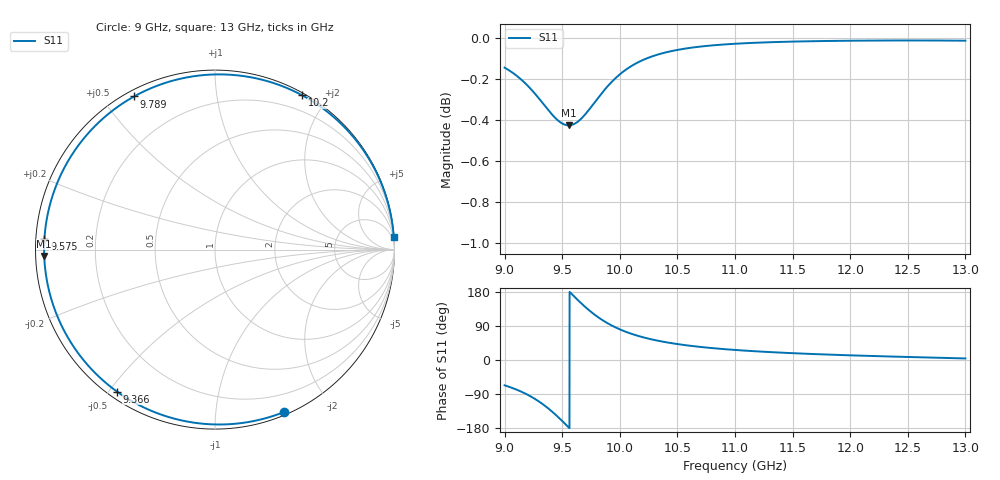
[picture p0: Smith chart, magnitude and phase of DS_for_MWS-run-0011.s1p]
! TOUCHSTONE file generated by CST DESIGN STUDIO
! Date and time: Tue Feb  4 14:09:42 2025
! Project name: C:\Work\MatlabApps\UnitCellOptimizationMatlab\CST\unitcell.cst
! Tree item: Tasks\Sweep1\SPara1\S-Parameters
! Header version: 2024
! Port assignment regex: !\s*Touchstone port\s*([0-9]+)\s*=\s*(CST MWS port|CST DES external port|CST DES block port)\s*(.+)\s* \(\"(.*)\"\)(\s*mode\s*([0-9]+))?.*
! Touchstone port assignment:
! Touchstone port 1 = CST DES external port 1 ("")
# GHz S MA R 50
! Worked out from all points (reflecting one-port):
!   4001 points, 9 GHz to 13 GHz, reference 50 ohm
!   lowest |S11| = -0.4 dB at 9.556 GHz (marker M1), VSWR 40.75, Z = 1.23 - j0.951 ohm
!   phase of S11 starts at -67 deg and turns -289 deg over the sweep
!   S11 on the Smith chart (normalised r, x): 9 GHz: 0.03, -1.52; 9.366 GHz: 0.03, -0.52; 9.575 GHz: 0.02, +0.03; 9.789 GHz: 0.02, +0.60; 10.2 GHz: 0.03, +1.71; 13 GHz: 1, +28
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9  0.9833 -66.8
9.042  0.9817 -71.1
9.108  0.9787 -78.7
9.22  0.9722 -95.0
9.297  0.9666 -109.3
9.366  0.9613 -124.6
9.431  0.9566 -141.3
9.5  0.9531 -160.9
9.556  0.9521 -177.8
9.575  0.9522 176.4
9.629  0.9537 160.1
9.689  0.9572 143.0
9.739  0.961 129.8
9.789  0.965 117.9
9.834  0.9686 108.2
9.883  0.9723 98.9
9.937  0.976 89.9
10  0.9796 80.9
10.093  0.9839 70.0
10.195  0.9874 60.5
10.335  0.9907 50.6
10.5  0.9931 42.0
10.721  0.9951 33.8
11  0.9966 26.5
11.5  0.9978 18.0
12  0.9983 12.3
12.5  0.9984 8.0
13  0.9983 4.1
